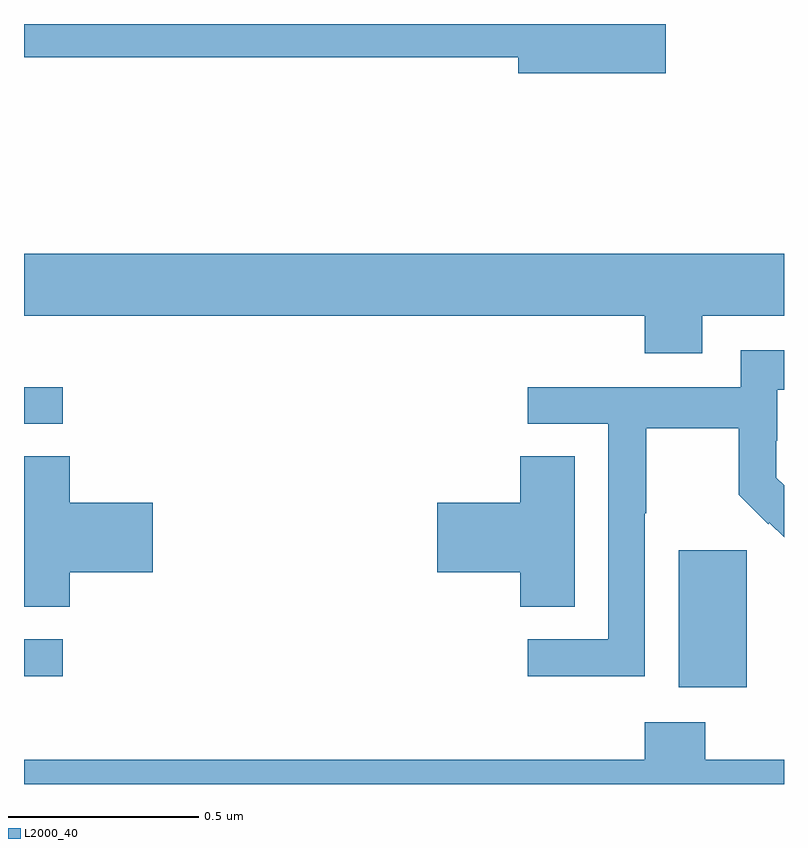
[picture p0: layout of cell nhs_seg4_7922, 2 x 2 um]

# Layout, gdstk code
import gdstk
lib = gdstk.Library(unit=1e-6, precision=1e-09)
def R(c, l, rs):  # rectangles x0, y0, x1, y1
    for r in rs: c.add(gdstk.rectangle(r[:2], r[2:], *l))
def P(c, l, *ps):  # polygons
    for p in ps: c.add(gdstk.Polygon(p, *l))
L2000_40 = (2000, 40)

nhs_seg4_7922 = lib.new_cell('nhs_seg4_7922')
R(nhs_seg4_7922, L2000_40, [(209.723,817.154,209.902,817.515), (208,817.183,208.102,817.281), (208,817.848,208.102,817.944)])
P(nhs_seg4_7922, L2000_40, [(209.689,818.9),(208,818.9),(208,818.812),(209.3,818.812),(209.3,818.77),(209.689,818.77)],
  [(209.785,818.132),(210,818.132),(210,818.296),(208,818.296),(208,818.132),(209.633,818.132),(209.633,818.033),(209.785,818.033)],
  [(209.634,817.612),(209.637,817.612),(209.637,817.836),(209.881,817.836),(209.881,817.661),(209.958,817.584),(209.961,817.587),(210,817.549),(210,817.686),(209.98,817.706),(209.98,817.803),(209.982,817.803),(209.982,817.937),(210,817.937),(210,818.041),(209.886,818.041),(209.886,817.944),(209.325,817.944),(209.325,817.848),(209.538,817.848),(209.538,817.281),(209.325,817.281),(209.325,817.183),(209.634,817.183)],
  [(208.121,817.457),(208.339,817.457),(208.339,817.64),(208.121,817.64),(208.121,817.763),(208,817.763),(208,817.366),(208.121,817.366)],
  [(209.449,817.763),(209.306,817.763),(209.306,817.64),(209.088,817.64),(209.088,817.457),(209.306,817.457),(209.306,817.366),(209.449,817.366)],
  [(210,816.964),(209.793,816.964),(209.793,817.063),(209.633,817.063),(209.633,816.964),(208,816.964),(208,816.9),(210,816.9)])

lib.write_gds('nhs_seg4_7922.gds')
